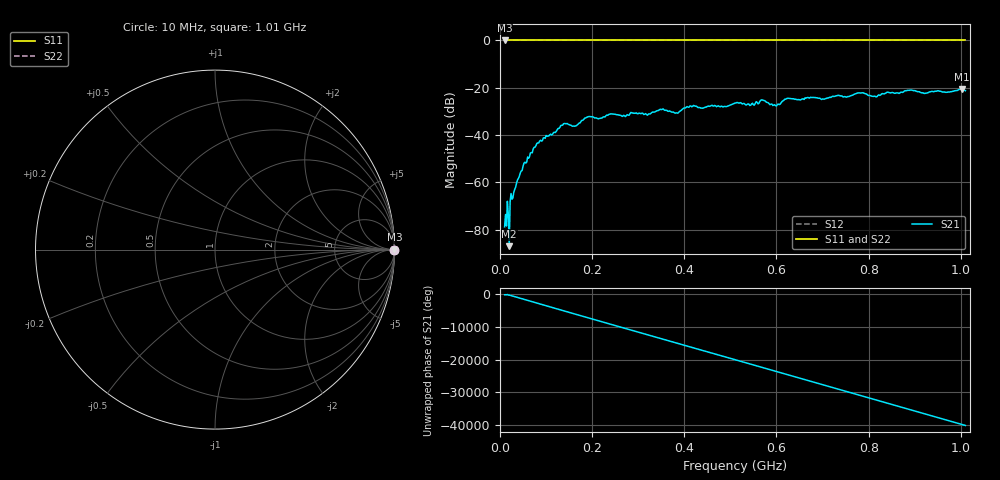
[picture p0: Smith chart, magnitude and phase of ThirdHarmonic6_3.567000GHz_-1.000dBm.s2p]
! 8/17/2025 11:48:48 AM
! C:\ANRITSUVNA\TEMP\TEMP.S2P
! CHANNEL.1
! TR.MEASUREMENT
! RAW.DATA
! RF.CORRECTION.OFF
! AVERAGING.OFF
! IF.BANDWIDTH: 5KHZ
! SWEEPTYPE:  FREQ.SWEEP(Linear)
! Reference Plane Port Info
! PORT:  PORT1  PORT2
! DISTANCE:  0  m  0  m
! TIME:  0  s  0  s
! PHASE.OFFSET:  0  deg.  0  deg.
! LOSS:  0  dB  0  dB
! REF.LOSS:  0  dB  0  dB
! REF.FREQ:  0  Hz  0  Hz
! Power Info
! POWER:  -20  dBm  -20  dBm
! EFF.POWER:  -20  dBm  -20  dBm
! SOURCE.ATTEN:  0  dB  0  dB
! TEST.ATTEN:  0  dB  0  dB
# GHZ S RI R 50.0
! FREQ.GHZ  S11RE  S11IM  S21RE  S21IM  S12RE  S12IM  S22RE  S22IM
!; PortSelection: Port_12
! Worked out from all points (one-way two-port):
!   501 points, 10 MHz to 1.01 GHz, reference 50 ohm
!   highest |S21| = -20.49 dB at 1.002 GHz (marker M1); lowest = -87.0 dB at 20 MHz (marker M2)
!   lowest |S11| = 0.0 dB at 10 MHz (marker M3)
!   |S11| at or under -10 dB: nowhere
!   |S22| runs from 0.0 to 0.0 dB; largest |S21 - S12| = 1.1
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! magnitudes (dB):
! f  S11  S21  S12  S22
! 10 MHz  0.0  -78.8  0.0  0.0
! 18 MHz  0.0  -73.5  0.0  0.0
! 20 MHz  0.0  -87.0  0.0  0.0
! 48 MHz  0.0  -55.0  0.0  0.0
! 78 MHz  0.0  -44.5  0.0  0.0
! 136 MHz  0.0  -35.8  0.0  0.0
! 162 MHz  0.0  -36.2  0.0  0.0
! 178 MHz  0.0  -33.7  0.0  0.0
! 344 MHz  0.0  -29.6  0.0  0.0
! 384 MHz  0.0  -30.7  0.0  0.0
! 416 MHz  0.0  -28.0  0.0  0.0
! 510 MHz  0.0  -26.5  0.0  0.0
! 548 MHz  0.0  -26.6  0.0  0.0
! 570 MHz  0.0  -25.2  0.0  0.0
! 596 MHz  0.0  -27.2  0.0  0.0
! 622 MHz  0.0  -24.6  0.0  0.0
! 678 MHz  0.0  -24.1  0.0  0.0
! 784 MHz  0.0  -22.2  0.0  0.0
! 814 MHz  0.0  -23.6  0.0  0.0
! 844 MHz  0.0  -22.0  0.0  0.0
! 1.002 GHz  0.0  -20.5  0.0  0.0
! 1.01 GHz  0.0  -21.2  0.0  0.0
